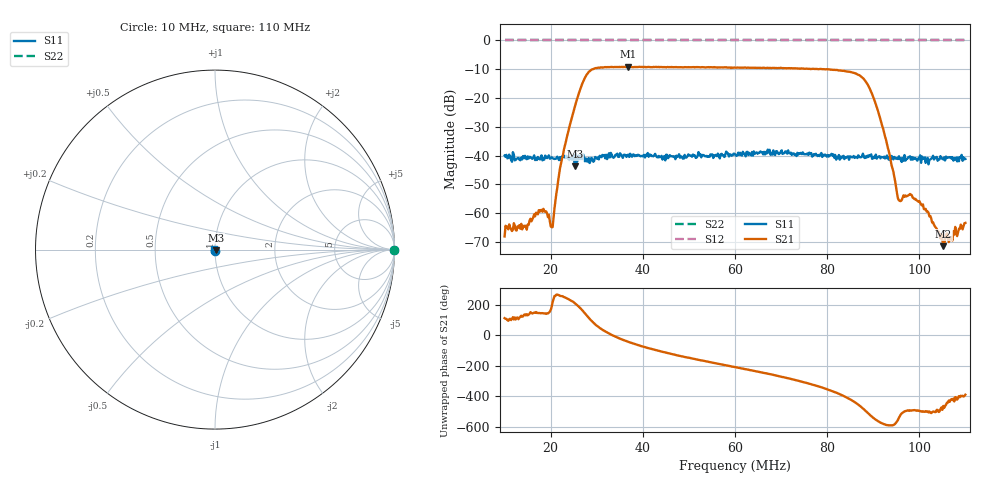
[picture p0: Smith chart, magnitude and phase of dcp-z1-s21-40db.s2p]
! Anritsu VNA Master:  Model: MS2034B/10/19/501
! SN:  1337062
! /bd0/ovro-jan-2016/dcp-z1-s21-40db.s2p
! Existing Calibration Information:
! TYPE:  Current Settings,  Active Cal Settings
! TIME:  01/08/2016 09:40:34 PM,  01/08/2016 08:43:08 PM
! INTERNAL TEMP:  42.8 C,  45.0 C
! # POINTS:  500,  500
! START FREQ:  10.000 MHz,  10.000 MHz
! STOP FREQ:  110.000 MHz,  110.000 MHz
! SOURCE POWER:  Low,  Low
! IFBW:  100 Hz,  100 Hz
! AVG FACTOR:  3 ,  3
! REF PLANE 1:  2.2245 m,  2.2245 m
! REF PLANE 2:  0 mm,  0 mm
! CAL TYPE:  1P2P S11,S21,  1P2P S11,S21
! CAL METHOD:  SOLT,  SOLT
! CAL LINE TYPE:  Coax,  Coax
! DUT PORT 1:  K-Conn(M),  K-Conn(M)
! DUT PORT 2:  N-Conn(M),  N-Conn(M)
! CAL STATUS:  OK: Accuracy High,  --
# GHZ S DB R 50.0
! FREQ.GHZ  S11DB  S11A  S21DB  S21A  S12DB  S12A  S22DB  S22A
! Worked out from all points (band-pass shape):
!   500 points, 10 MHz to 110 MHz, reference 50 ohm
!   highest |S21| = -9.15 dB at 36.85 MHz (marker M1); lowest = -71.4 dB at 105.2 MHz (marker M2)
!   |S21| within 3 dB of the highest: 27.71 MHz to 87.07 MHz (59.35 MHz wide, 103 % of centre)
!   lowest |S11| = -43.7 dB at 25.23 MHz (marker M3), VSWR 1.01, Z = 50.6 - j0.263 ohm
!   |S11| at or under -10 dB: start of sweep to end of sweep
!   |S22| runs from 0.0 to 0.0 dB; largest |S21 - S12| = 1.3
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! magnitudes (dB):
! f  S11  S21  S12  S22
! 10 MHz  -40.0  -68.1  0.0  0.0
! 10.6 MHz  -41.0  -64.7  0.0  0.0
! 14.81 MHz  -41.2  -65.7  0.0  0.0
! 18.02 MHz  -39.9  -58.9  0.0  0.0
! 20.22 MHz  -40.6  -64.8  0.0  0.0
! 22.22 MHz  -41.6  -42.8  0.0  0.0
! 25.23 MHz  -43.7  -23.1  0.0  0.0
! 26.83 MHz  -41.2  -15.1  0.0  0.0
! 29.44 MHz  -41.8  -9.8  0.0  0.0
! 36.85 MHz  -39.6  -9.2  0.0  0.0
! 43.47 MHz  -40.1  -9.2  0.0  0.0
! 60.1 MHz  -39.8  -9.4  0.0  0.0
! 76.73 MHz  -40.3  -9.9  0.0  0.0
! 87.76 MHz  -39.3  -13.1  0.0  0.0
! 90.36 MHz  -40.8  -21.2  0.0  0.0
! 93.37 MHz  -41.4  -38.3  0.0  0.0
! 95.57 MHz  -40.2  -55.5  0.0  0.0
! 97.98 MHz  -40.2  -53.3  0.0  0.0
! 100.4 MHz  -42.5  -57.0  0.0  0.0
! 105.2 MHz  -41.3  -71.4  0.0  0.0
! 106.8 MHz  -40.5  -68.4  0.0  0.0
! 110 MHz  -41.1  -63.4  0.0  0.0
